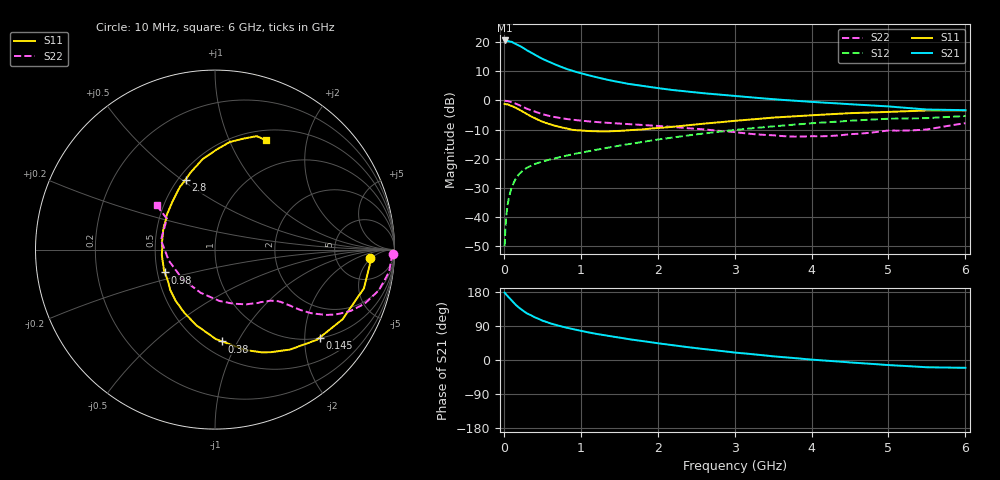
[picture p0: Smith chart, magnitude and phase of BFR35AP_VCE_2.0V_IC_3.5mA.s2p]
! Infineon Technologies  Discrete & RF Semiconductors
! BFR35AP
! VCE =  2.0 V,  IC =  3.5 mA
! Common Emitter S-Parameters:  Nov 2015
# GHz  S  MA  R  50
!  f  S11  S21  S12  S22
! GHz  MAG  ANG  MAG  ANG  MAG  ANG  MAG  ANG
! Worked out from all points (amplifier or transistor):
!   210 points, 10 MHz to 6 GHz, reference 50 ohm
!   highest |S21| = 20.5 dB at 10 MHz (marker M1)
!   |S21| within 3 dB of that: start of sweep to 278.8 MHz
!   unconditionally stable (mu >= 1): 891.6 MHz to 4.263 GHz; 5.189 GHz to 5.967 GHz
!   at 185 MHz: K = 0.31, MSG = 22.3 dB, |S12| = -25.7 dB
!   at 1.52 GHz: K = 1.15, MAG = 8.4 dB, |S12| = -15.4 dB
!   at 6 GHz: K = 1.00, MSG = 1.0 dB, |S12| = -5.3 dB
!   S11 on the Smith chart (normalised r, x): 10 MHz: 12, -5; 145 MHz: 1.01, -2.37; 380 MHz: 0.62, -0.86; 980 MHz: 0.55, -0.15; 2.8 GHz: 0.55, +0.52; 6 GHz: 0.62, +1.38
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0.01  0.8663 -3.1  10.64 177.8  0.0032 88.4  0.9935 -1.4
0.025  0.8634 -7.1  10.48 174.0  0.008 85.9  0.9828 -3.6
0.04  0.8581 -11.5  10.44 170.6  0.0131 82.7  0.9795 -5.8
0.05  0.8575 -14.5  10.43 168.3  0.0165 81.6  0.978 -7.3
0.1  0.8101 -28.6  10.13 157.1  0.0318 74.8  0.9403 -14.0
0.145  0.7617 -40.1  9.4 147.5  0.0434 68.3  0.8922 -19.2
0.2  0.6965 -53.1  8.705 137.5  0.0552 63.4  0.8312 -24.2
0.24  0.65 -61.6  8.11 131.2  0.0617 59.6  0.7841 -27.0
0.3  0.5846 -73.2  7.229 123.1  0.0702 56.4  0.7214 -30.3
0.38  0.5129 -85.7  6.295 115.2  0.0792 52.9  0.6595 -32.7
0.5  0.4337 -104.0  5.162 103.9  0.09 50.7  0.5822 -35.3
0.6  0.3905 -116.1  4.497 97.0  0.0975 49.9  0.538 -36.3
0.8  0.3353 -138.2  3.518 85.9  0.1125 49.7  0.4843 -37.9
0.98  0.3075 -155.6  2.976 77.7  0.126 50.1  0.4544 -39.3
1.02  0.3049 -159.3  2.879 76.1  0.129 50.3  0.4489 -39.7
1.4  0.2981 172.3  2.181 62.3  0.1593 50.9  0.4106 -44.5
2.02  0.3384 139.8  1.614 43.7  0.2159 49.3  0.3643 -55.6
2.8  0.4223 112.9  1.262 24.4  0.2925 43.4  0.3016 -77.4
3.1  0.4586 105.9  1.162 17.9  0.3216 40.0  0.2772 -89.1
4.1  0.5668 87.5  0.928 -0.4  0.4149 28.1  0.2434 -143.8
5.1  0.6434 74.6  0.771 -14.4  0.4881 14.0  0.3046 165.3
6  0.6723 64.9  0.682 -20.6  0.5418 3.8  0.4083 142.9
